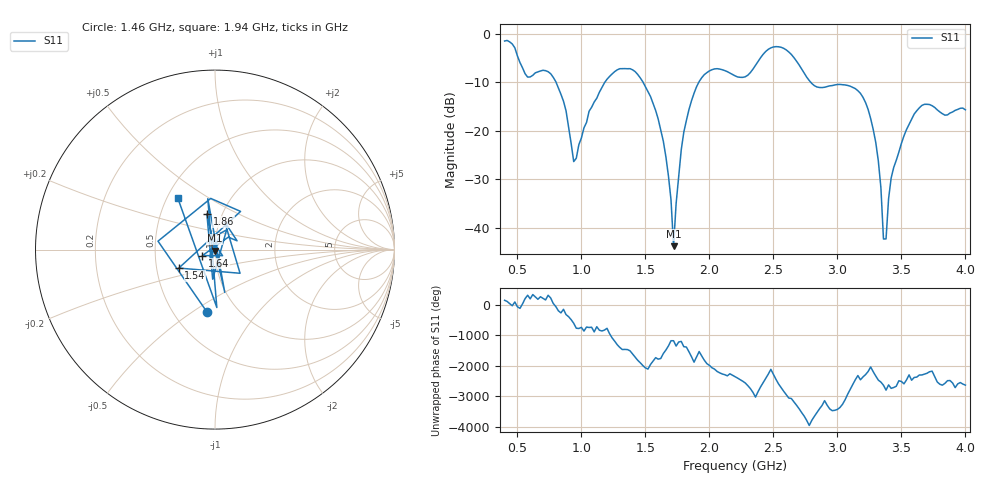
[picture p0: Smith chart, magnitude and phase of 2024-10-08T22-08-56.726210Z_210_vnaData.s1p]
! Created with skrf (http://scikit-rf.org).
# Hz S RI R 50.0
!freq ReS11 ImS11
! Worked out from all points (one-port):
!   181 points, 400 MHz to 4 GHz, reference 50 ohm
!   lowest |S11| = -43.8 dB at 1.72 GHz (marker M1), VSWR 1.01, Z = 50 - j0.641 ohm
!   |S11| at or under -10 dB: 802.7 MHz to 1.182 GHz (379.3 MHz wide, 38.2 % of centre); 1.483 GHz to 1.916 GHz (433.9 MHz wide, 25.5 % of centre); 2.793 GHz to end of sweep
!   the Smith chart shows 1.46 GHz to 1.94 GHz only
!   S11 on the Smith chart (normalised r, x): 1.46 GHz: 0.72, -0.58; 1.54 GHz: 0.65, -0.14; 1.64 GHz: 0.87, -0.06; 1.86 GHz: 0.85, +0.35; 1.94 GHz: 0.57, +0.37
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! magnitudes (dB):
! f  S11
! 400 MHz  -1.4
! 580 MHz  -8.9
! 760 MHz  -8.2
! 860 MHz  -13.9
! 940 MHz  -26.4
! 1.06 GHz  -15.9
! 1.3 GHz  -7.2
! 1.46 GHz  -9.1
! 1.54 GHz  -12.9
! 1.64 GHz  -22.1
! 1.7 GHz  -34.3
! 1.72 GHz  -43.8
! 1.76 GHz  -29.4
! 1.86 GHz  -13.8
! 1.94 GHz  -9.0
! 2.2 GHz  -8.6
! 2.5 GHz  -2.7
! 2.66 GHz  -4.8
! 2.84 GHz  -10.9
! 3.1 GHz  -10.8
! 3.28 GHz  -19.7
! 3.34 GHz  -31.8
! 3.36 GHz  -42.3
! 3.38 GHz  -42.3
! 3.42 GHz  -29.7
! 3.56 GHz  -18.7
! 3.68 GHz  -14.5
! 4 GHz  -15.6
